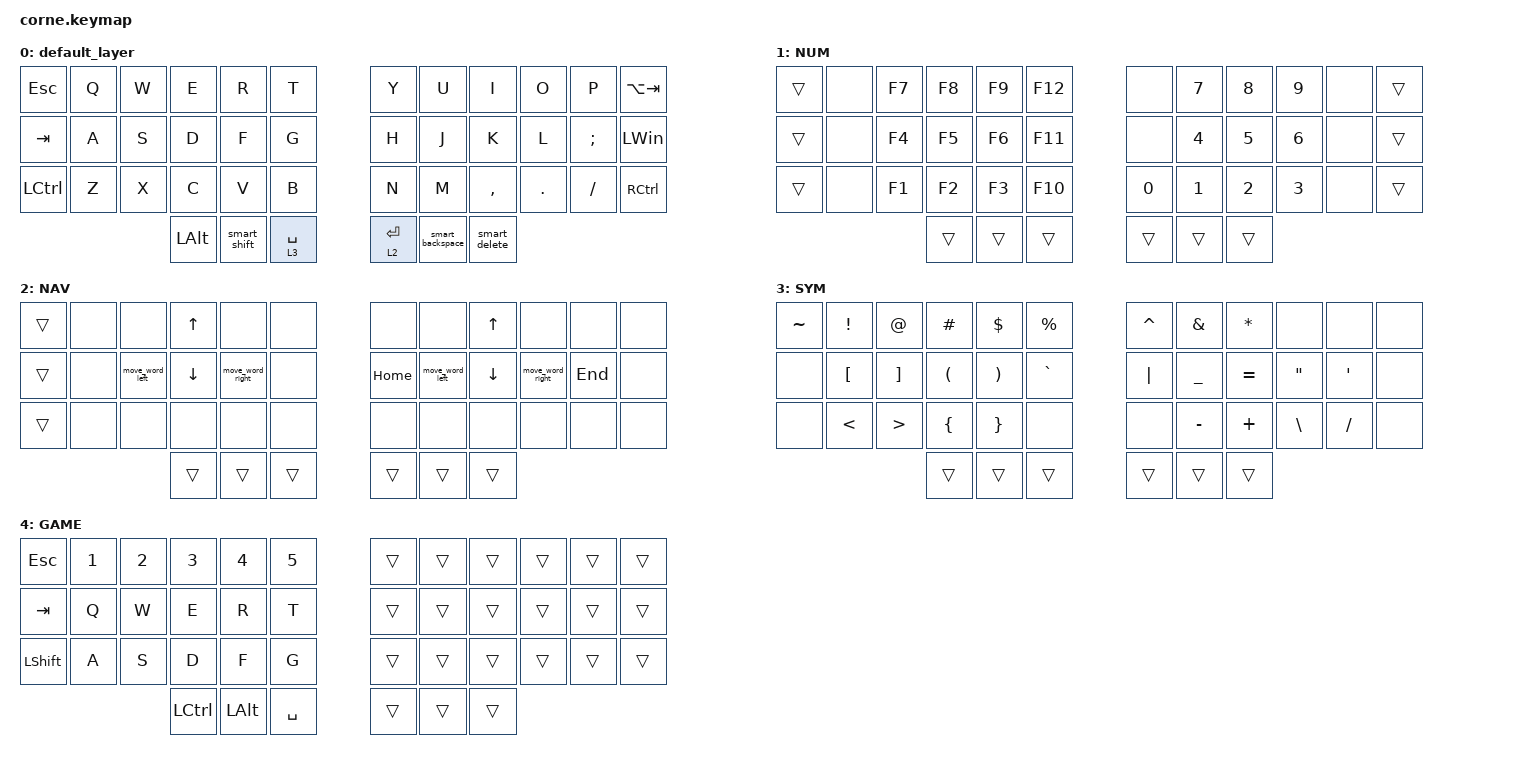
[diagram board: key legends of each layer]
/*
 * Copyright (c) 2020 The ZMK Contributors
 *
 * SPDX-License-Identifier: MIT
 */

#include <behaviors.dtsi>
#include <dt-bindings/zmk/keys.h>

/ {
    combos {
        compatible = "zmk,combos";

        new_combo {
            bindings = <&tog 4>;
            key-positions = <0 5>;
        };
    };

    behaviors {
        smart_shift: smart_shift {
            compatible = "zmk,behavior-mod-morph";
            label = "SMART_SHIFT";
            bindings =
                <&sticky_quick_release LSHFT>,
                <&caps_word>;

            #binding-cells = <0>;
            mods = <(MOD_LSFT)>;
        };
        move_word_left: move_word_left {
            compatible = "zmk,behavior-tap-dance";
            label = "MOVE_WORD_LEFT";
            #binding-cells = <0>;
            bindings =
                <&kp LEFT>,
                <&kp LC(LEFT)>;

            tapping-term-ms = <150>;
        };
        move_word_right: move_word_right {
            compatible = "zmk,behavior-tap-dance";
            label = "MOVE_WORD_RIGHT";
            #binding-cells = <0>;
            bindings =
                <&kp RIGHT>,
                <&kp LC(RIGHT)>;

            tapping-term-ms = <150>;
        };
        smart_backspace: smart_backspace {
            compatible = "zmk,behavior-tap-dance";
            label = "SMART_BACKSPACE";
            #binding-cells = <0>;
            bindings =
                <&lt 1 BACKSPACE>,
                <&kp LC(BACKSPACE)>;

            tapping-term-ms = <150>;
        };
        smart_delete: smart_delete {
            compatible = "zmk,behavior-tap-dance";
            label = "SMART_DELETE";
            #binding-cells = <0>;
            bindings =
                <&kp DEL>,
                <&kp LC(DEL)>;

            tapping-term-ms = <150>;
        };
        sticky_quick_release: sticky_quick_release {
            compatible = "zmk,behavior-sticky-key";
            label = "STICKY_QUICK_RELEASE";
            bindings = <&kp>;
            #binding-cells = <1>;
            quick-release;
            release-after-ms = <200>;
        };
    };

    keymap {
        compatible = "zmk,keymap";

        default_layer {
            // -----------------------------------------------------------------------------------------
            // |  TAB |  Q  |  W  |  E  |  R  |  T  |   |  Y  |  U   |  I  |  O  |  P  | BKSP |
            // | CTRL |  A  |  S  |  D  |  F  |  G  |   |  H  |  J   |  K  |  L  |  ;  |  '   |
            // | SHFT |  Z  |  X  |  C  |  V  |  B  |   |  N  |  M   |  ,  |  .  |  /  | ESC  |
            //                    | GUI | LWR | SPC |   | ENT | RSE  | ALT |

            bindings = <
  &kp ESC  &kp Q  &kp W         &kp E         &kp R        &kp T          &kp Y             &kp U          &kp I    &kp O     &kp P        &kp LA(TAB)
  &kp TAB  &kp A  &kp S         &kp D         &kp F        &kp G          &kp H             &kp J          &kp K    &kp L  &kp SEMI       &kp LEFT_WIN
&kp LCTRL  &kp Z  &kp X         &kp C         &kp V        &kp B          &kp N             &kp M      &kp COMMA  &kp DOT  &kp FSLH  &kp RIGHT_CONTROL
                         &kp LEFT_ALT  &smart_shift  &lt 3 SPACE    &lt 2 ENTER  &smart_backspace  &smart_delete
            >;
        };

        NUM {
            // -----------------------------------------------------------------------------------------
            // |  TAB |  1  |  2  |  3  |  4  |  5  |   |  6  |  7  |  8  |  9  |  0  | BKSP |
            // | BTCLR| BT1 | BT2 | BT3 | BT4 | BT5 |   | LFT | DWN |  UP | RGT |     |      |
            // | SHFT |     |     |     |     |     |   |     |     |     |     |     |      |
            //                    | GUI |     | SPC |   | ENT |     | ALT |

            bindings = <
&trans  &none  &kp F7  &kp F8  &kp F9  &kp F12     &none  &kp N7  &kp N8  &kp N9  &none  &trans
&trans  &none  &kp F4  &kp F5  &kp F6  &kp F11     &none  &kp N4  &kp N5  &kp N6  &none  &trans
&trans  &none  &kp F1  &kp F2  &kp F3  &kp F10    &kp N0  &kp N1  &kp N2  &kp N3  &none  &trans
                       &trans  &trans   &trans    &trans  &trans  &trans
            >;
        };

        NAV {
            // -----------------------------------------------------------------------------------------
            // |  TAB |  !  |  @  |  #  |  $  |  %  |   |  ^  |  &  |  *  |  (  |  )  | BKSP |
            // | CTRL |     |     |     |     |     |   |  -  |  =  |  [  |  ]  |  \  |  `   |
            // | SHFT |     |     |     |     |     |   |  _  |  +  |  {  |  }  | "|" |  ~   |
            //                    | GUI |     | SPC |   | ENT |     | ALT |

            bindings = <
&trans  &none            &none    &kp UP             &none   &none       &none            &none    &kp UP             &none    &none  &none
&trans  &none  &move_word_left  &kp DOWN  &move_word_right   &none    &kp HOME  &move_word_left  &kp DOWN  &move_word_right  &kp END  &none
&trans  &none            &none     &none             &none   &none       &none            &none     &none             &none    &none  &none
                                  &trans            &trans  &trans      &trans           &trans    &trans
            >;
        };

        SYM {
            bindings = <
&kp TILDE          &kp EXCL             &kp AT              &kp HASH             &kp DOLLAR  &kp PERCENT    &kp CARET  &kp AMPERSAND   &kp STAR              &none             &none  &none
    &none  &kp LEFT_BRACKET  &kp RIGHT_BRACKET  &kp LEFT_PARENTHESIS  &kp RIGHT_PARENTHESIS    &kp GRAVE     &kp PIPE      &kp UNDER  &kp EQUAL  &kp DOUBLE_QUOTES  &kp SINGLE_QUOTE  &none
    &none     &kp LESS_THAN   &kp GREATER_THAN        &kp LEFT_BRACE        &kp RIGHT_BRACE        &none        &none      &kp MINUS   &kp PLUS      &kp BACKSLASH         &kp SLASH  &none
                                                              &trans                 &trans       &trans       &trans         &trans     &trans
            >;
        };

        GAME {
            bindings = <
       &kp ESC  &kp N1  &kp N2     &kp N3    &kp N4     &kp N5    &trans  &trans  &trans  &trans  &trans  &trans
       &kp TAB   &kp Q   &kp W      &kp E     &kp R      &kp T    &trans  &trans  &trans  &trans  &trans  &trans
&kp LEFT_SHIFT   &kp A   &kp S      &kp D     &kp F      &kp G    &trans  &trans  &trans  &trans  &trans  &trans
                                &kp LCTRL  &kp LALT  &kp SPACE    &trans  &trans  &trans
            >;
        };
    };
};
